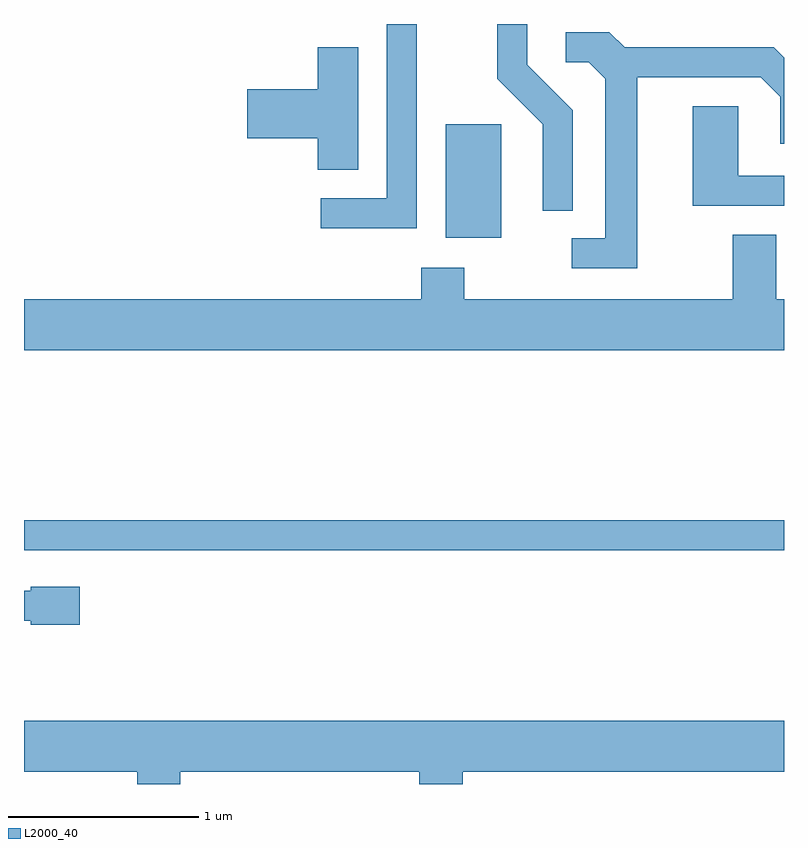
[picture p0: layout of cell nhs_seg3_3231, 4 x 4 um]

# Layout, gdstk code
import gdstk
lib = gdstk.Library(unit=1e-6, precision=1e-09)
def R(c, l, rs):  # rectangles x0, y0, x1, y1
    for r in rs: c.add(gdstk.rectangle(r[:2], r[2:], *l))
def P(c, l, *ps):  # polygons
    for p in ps: c.add(gdstk.Polygon(p, *l))
L2000_40 = (2000, 40)

nhs_seg3_3231 = lib.new_cell('nhs_seg3_3231')
R(nhs_seg3_3231, L2000_40, [(279.611,1187.121,283.611,1187.279), (281.831,1188.766,282.124,1189.364)])
P(nhs_seg3_3231, L2000_40, [(281.679,1189.892),(281.521,1189.892),(281.521,1188.974),(281.173,1188.974),(281.173,1188.816),(281.679,1188.816)],
  [(282.499,1189.437),(282.259,1189.677),(282.259,1189.892),(282.101,1189.892),(282.101,1189.604),(282.341,1189.364),(282.341,1188.908),(282.499,1188.908)],
  [(282.839,1189.611),(283.489,1189.611),(283.591,1189.509),(283.591,1189.263),(283.611,1189.263),(283.611,1189.715),(283.557,1189.769),(282.772,1189.769),(282.692,1189.849),(282.463,1189.849),(282.463,1189.691),(282.584,1189.691),(282.671,1189.604),(282.671,1188.764),(282.493,1188.764),(282.493,1188.606),(282.839,1188.606)],
  [(281.369,1189.769),(281.156,1189.769),(281.156,1189.549),(280.786,1189.549),(280.786,1189.291),(281.156,1189.291),(281.156,1189.126),(281.369,1189.126)],
  [(283.611,1189.094),(283.369,1189.094),(283.369,1189.459),(283.131,1189.459),(283.131,1188.936),(283.611,1188.936)],
  [(283.611,1188.444),(283.569,1188.444),(283.569,1188.784),(283.341,1188.784),(283.341,1188.444),(281.929,1188.444),(281.929,1188.609),(281.701,1188.609),(281.701,1188.444),(279.611,1188.444),(279.611,1188.176),(283.611,1188.176)],
  [(279.904,1186.929),(279.646,1186.929),(279.646,1186.909),(279.611,1186.909),(279.611,1186.751),(279.646,1186.751),(279.646,1186.731),(279.904,1186.731)],
  [(280.434,1185.956),(281.691,1185.956),(281.691,1185.892),(281.919,1185.892),(281.919,1185.956),(283.611,1185.956),(283.611,1186.224),(279.611,1186.224),(279.611,1185.956),(280.206,1185.956),(280.206,1185.892),(280.434,1185.892)])

lib.write_gds('nhs_seg3_3231.gds')
